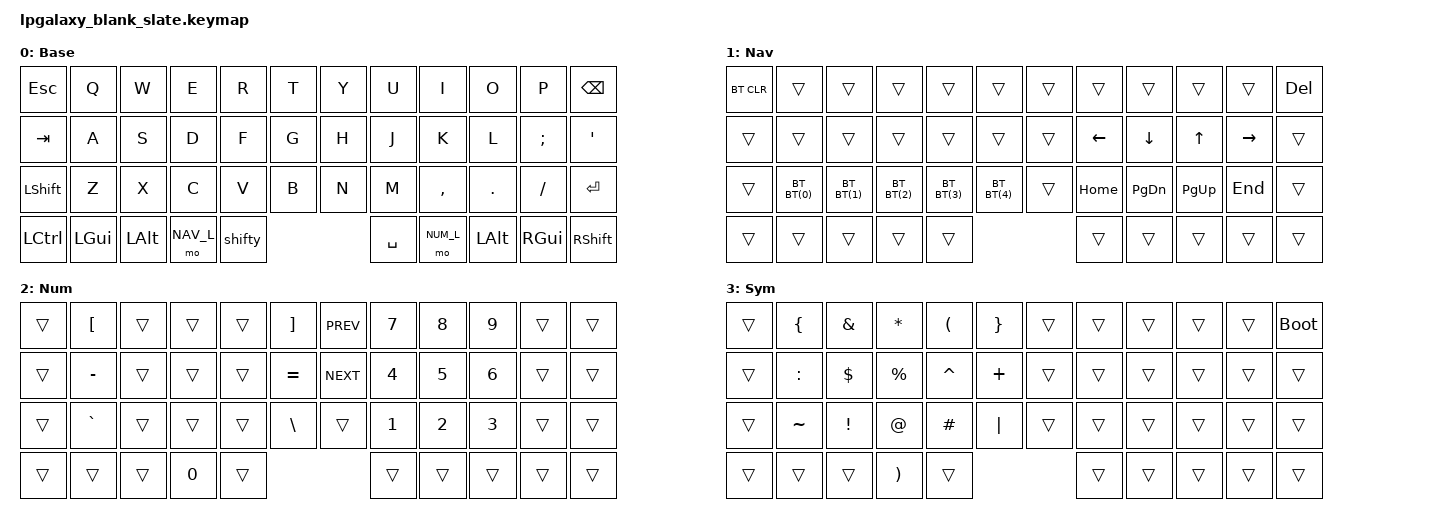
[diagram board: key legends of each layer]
/*
 * Copyright (c) 2022 Pete Johanson
 *
 * SPDX-License-Identifier: MIT
 */

#include <behaviors.dtsi>
#include <dt-bindings/zmk/keys.h>
#include <dt-bindings/zmk/bt.h>
#include <dt-bindings/zmk/outputs.h>

#define QWERTY_BASE 1

// #define TBLE_ORTHO   1
// #define TBLE_MIT     1
#define TBLE_DUAL_2U 1

#define NAV_L 1
#define NUM_L 2
#define SYM_L 3

// Using layer taps on thumbs, having quick tap as well helps w/ repeating space/backspace
&lt { quick_tap_ms = <200>; };

#define BT(n) BT_SEL n

/ {
    chosen {
       zmk,matrix_transform =
#ifdef TBLE_DUAL_2U
                       &dual_2u_transform;
#elif defined(TBLE_MIT)
                       &mit_transform;
#else
                       &ortho_transform;
#endif
    };

    macros {
      ZMK_MACRO(thumbs_up,
		wait-ms = <1>;
		tap-ms = <5>;
                bindings = <&kp PLUS &kp COLON &kp PLUS &kp N1 &kp COLON &kp RET>;
		)
    };
    
    tap_dances {
    	shifty: shift_caps_word {
		compatible = "zmk,behavior-tap-dance";
		label = "TD_SHIFTY";
		#binding-cells = <0>;
		tapping-term-ms = <150>;
		bindings = <&kp LSHFT>, <&caps_word>;
	};
    };

// Conditional layer only when we have less thumb keys
#ifdef TBLE_DUAL_2U
    cond_layers {
        compatible = "zmk,conditional-layers";
	tri {
	    if-layers = <NUM_L NAV_L>;
	    then-layer = <SYM_L>;
        };
    };
#endif

    keymap {
        compatible = "zmk,keymap";

        base_layer {
            label = "Base";
            bindings = <
              &kp ESC    &kp Q      &kp W      &kp E       &kp R          &kp T          &kp Y            &kp U          &kp I       &kp O      &kp P         &kp BKSP
              &kp TAB    &kp A      &kp S      &kp D       &kp F          &kp G          &kp H            &kp J          &kp K       &kp L      &kp SEMI      &kp QUOT
              &kp LSHFT  &kp Z      &kp X      &kp C       &kp V          &kp B          &kp N            &kp M          &kp COMMA   &kp DOT    &kp FSLH      &kp RET
              &kp LCTRL  &kp LGUI   &kp LALT   &mo NAV_L         &shifty                        &kp SPACE                &mo NUM_L   &kp LALT   &kp RGUI      &kp RSHIFT
            >;
        };

        nav_layer {
            label = "Nav";
            bindings = <
              &bt BT_CLR &trans     &trans     &trans      &trans          &trans       &trans     &trans         &trans      &trans     &trans     &kp DEL
              &trans     &trans     &trans     &trans      &trans          &trans       &trans     &kp LEFT       &kp DOWN    &kp UP     &kp RIGHT  &trans
              &trans     &bt BT(0)  &bt BT(1)  &bt BT(2)   &bt BT(3)       &bt BT(4)    &trans     &kp HOME       &kp PG_DN   &kp PG_UP  &kp END    &trans
              &trans     &trans     &trans     &trans              &trans                     &trans              &trans      &trans     &trans     &trans
            >;
        };

        num_layer {
            label = "Num";
            bindings = <
              &trans    &kp LBKT     &trans    &trans    &trans    &kp RBKT     &kp C_PREV    &kp N7     &kp N8      &kp N9     &trans     &trans
              &trans    &kp MINUS    &trans    &trans    &trans    &kp EQUAL    &kp C_NEXT    &kp N4     &kp N5      &kp N6     &trans     &trans
              &trans    &kp GRAVE    &trans    &trans    &trans    &kp BSLH     &trans        &kp N1     &kp N2      &kp N3     &trans     &trans
              &trans    &trans       &trans    &kp N0          &trans                 &trans             &trans      &trans     &trans     &trans
            >;
        };

        sym_layer {
            label = "Sym";
            bindings = <
              &trans     &kp LBRC    &kp AMPS    &kp STAR    &kp LPAR     &kp RBRC     &trans     &trans    &trans    &trans    &trans    &bootloader
              &trans     &kp COLON   &kp DLLR    &kp PRCNT   &kp CARET    &kp PLUS     &trans     &trans    &trans    &trans    &trans    &trans
              &trans     &kp TILDE   &kp EXCL    &kp AT      &kp HASH     &kp PIPE     &trans     &trans    &trans    &trans    &trans    &trans
              &trans     &trans      &trans      &kp RPAR             &trans                  &trans        &trans    &trans    &trans    &trans
           >;
        };


    };
};
